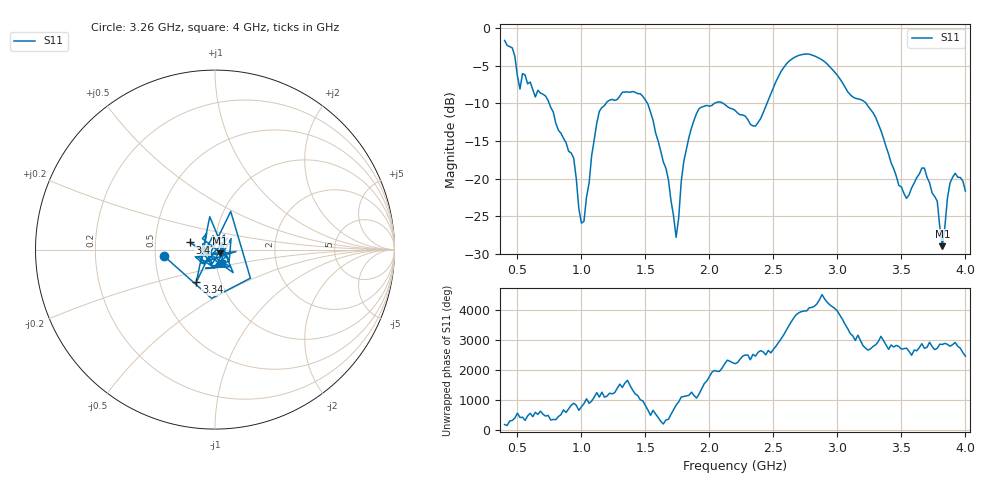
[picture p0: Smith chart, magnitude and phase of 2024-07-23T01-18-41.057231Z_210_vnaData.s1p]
!Created with skrf (http://scikit-rf.org).
# Hz S RI R 50.0
!freq ReS11 ImS11
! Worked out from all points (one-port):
!   181 points, 400 MHz to 4 GHz, reference 50 ohm
!   lowest |S11| = -29.0 dB at 3.82 GHz (marker M1), VSWR 1.07, Z = 53 - j2.14 ohm
!   |S11| at or under -10 dB: 748 MHz to 1.193 GHz (444.8 MHz wide, 45.8 % of centre); 1.515 GHz to 2.04 GHz (524.1 MHz wide, 29.5 % of centre); 3.224 GHz to end of sweep (the widest 3 of 4)
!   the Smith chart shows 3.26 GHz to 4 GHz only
!   S11 on the Smith chart (normalised r, x): 3.26 GHz: 0.56, -0.04; 3.34 GHz: 0.76, -0.29; 3.4 GHz: 0.75, +0.06; 4 GHz: 1.07, -0.16
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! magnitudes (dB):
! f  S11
! 400 MHz  -1.7
! 460 MHz  -2.6
! 520 MHz  -8.1
! 720 MHz  -9.0
! 860 MHz  -14.7
! 940 MHz  -17.3
! 1 GHz  -25.9
! 1.14 GHz  -11.1
! 1.3 GHz  -9.1
! 1.52 GHz  -10.1
! 1.68 GHz  -20.2
! 1.74 GHz  -27.8
! 1.76 GHz  -25.3
! 1.8 GHz  -17.7
! 1.92 GHz  -10.7
! 2.2 GHz  -10.9
! 2.36 GHz  -13.0
! 2.66 GHz  -3.9
! 3.1 GHz  -8.9
! 3.26 GHz  -10.8
! 3.34 GHz  -13.6
! 3.4 GHz  -16.8
! 3.56 GHz  -22.2
! 3.68 GHz  -18.6
! 3.78 GHz  -23.0
! 3.82 GHz  -29.0
! 3.88 GHz  -20.6
! 4 GHz  -21.7
